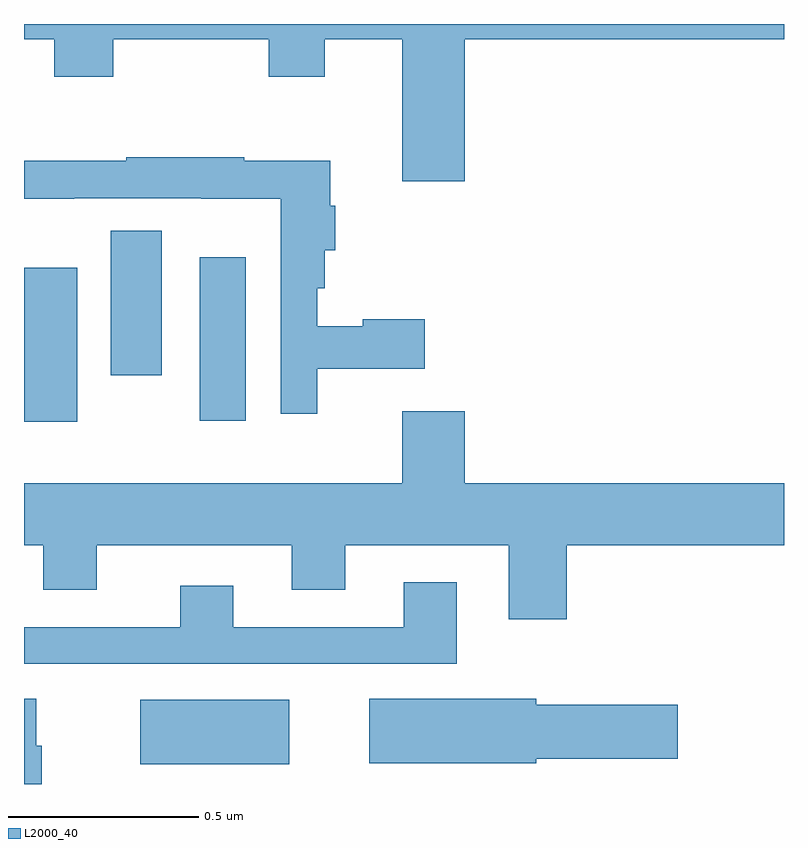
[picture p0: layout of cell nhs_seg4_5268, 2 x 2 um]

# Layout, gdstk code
import gdstk
lib = gdstk.Library(unit=1e-6, precision=1e-09)
def R(c, l, rs):  # rectangles x0, y0, x1, y1
    for r in rs: c.add(gdstk.rectangle(r[:2], r[2:], *l))
def P(c, l, *ps):  # polygons
    for p in ps: c.add(gdstk.Polygon(p, *l))
L2000_40 = (2000, 40)

nhs_seg4_5268 = lib.new_cell('nhs_seg4_5268')
R(nhs_seg4_5268, L2000_40, [(176.306,754.952,176.698,755.122), (176,755.853,176.14,756.259), (176.462,755.856,176.584,756.286), (176.228,755.976,176.362,756.356)])
P(nhs_seg4_5268, L2000_40, [(177.16,756.86),(178,756.86),(178,756.9),(176,756.9),(176,756.86),(176.08,756.86),(176.08,756.761),(176.235,756.761),(176.235,756.86),(176.644,756.86),(176.644,756.761),(176.791,756.761),(176.791,756.86),(176.996,756.86),(176.996,756.486),(177.16,756.486)],
  [(176.772,755.993),(177.055,755.993),(177.055,756.123),(176.892,756.123),(176.892,756.104),(176.772,756.104),(176.772,756.204),(176.792,756.204),(176.792,756.305),(176.819,756.305),(176.819,756.422),(176.806,756.422),(176.806,756.54),(176.579,756.54),(176.579,756.55),(176.269,756.55),(176.269,756.54),(176,756.54),(176,756.44),(176.132,756.44),(176.132,756.441),(176.466,756.441),(176.466,756.44),(176.676,756.44),(176.676,755.874),(176.772,755.874)],
  [(177.428,755.528),(178,755.528),(178,755.692),(177.16,755.692),(177.16,755.881),(176.996,755.881),(176.996,755.692),(176,755.692),(176,755.528),(176.051,755.528),(176.051,755.411),(176.191,755.411),(176.191,755.528),(176.705,755.528),(176.705,755.411),(176.845,755.411),(176.845,755.528),(177.275,755.528),(177.275,755.334),(177.428,755.334)],
  [(177.139,755.431),(176.999,755.431),(176.999,755.313),(176.551,755.313),(176.551,755.422),(176.411,755.422),(176.411,755.313),(176,755.313),(176,755.217),(177.139,755.217)],
  [(176.047,755.001),(176.032,755.001),(176.032,755.125),(176,755.125),(176,754.9),(176.047,754.9)],
  [(177.348,754.967),(177.721,754.967),(177.721,755.109),(177.348,755.109),(177.348,755.125),(176.909,755.125),(176.909,754.955),(177.348,754.955)])

lib.write_gds('nhs_seg4_5268.gds')
